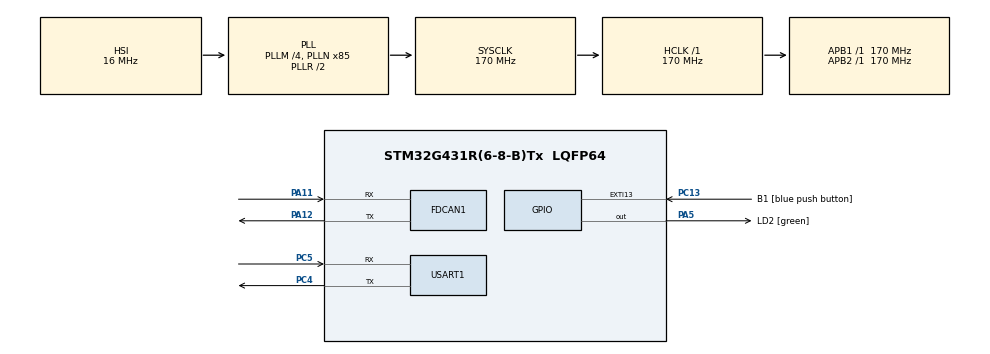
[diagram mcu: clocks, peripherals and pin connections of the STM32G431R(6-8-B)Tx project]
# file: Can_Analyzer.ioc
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FDCAN1.AutoRetransmission=ENABLE
FDCAN1.CalculateBaudRateNominal=499999
FDCAN1.CalculateTimeBitNominal=2000
FDCAN1.CalculateTimeQuantumNominal=117.64705882352942
FDCAN1.FrameFormat=FDCAN_FRAME_CLASSIC
FDCAN1.NominalPrescaler=20
FDCAN1.NominalTimeSeg1=13
FDCAN1.NominalTimeSeg2=3
Mcu.Family=STM32G4
Mcu.Name=STM32G431R(6-8-B)Tx
Mcu.Package=LQFP64
NUCLEO-G431RB.VCP=true
NVIC.FDCAN1_IT0_IRQn=true\:0\:0\:false\:false\:true\:true\:true\:true
NVIC.FDCAN1_IT1_IRQn=true\:0\:0\:false\:false\:true\:true\:true\:true
NVIC.PriorityGroup=NVIC_PRIORITYGROUP_4
NVIC.USART1_IRQn=true\:0\:0\:false\:false\:true\:true\:true\:true
PA11.Mode=FDCAN_Activate
PA11.Signal=FDCAN1_RX
PA12.Mode=FDCAN_Activate
PA12.Signal=FDCAN1_TX
PA13.GPIO_Label=T_SWDIO
PA13.Signal=SYS_JTMS-SWDIO
PA14.GPIO_Label=T_SWCLK
PA14.Signal=SYS_JTCK-SWCLK
PA2.Signal=LPUART1_TX
PA3.Signal=LPUART1_RX
PA5.GPIO_Label=LD2 [green]
PA5.Signal=GPIO_Output
PB3.GPIO_Label=T_SWO
PB3.Signal=SYS_JTDO-SWO
PC13.GPIO_Label=B1 [blue push button]
PC13.Signal=GPXTI13
PC14-OSC32_IN.GPIO_Label=RCC_OSC32_OUT
PC14-OSC32_IN.Signal=RCC_OSC32_IN
PC15-OSC32_OUT.GPIO_Label=RCC_OSC32_OUT
PC15-OSC32_OUT.Signal=RCC_OSC32_OUT
PC4.Mode=Asynchronous
PC4.Signal=USART1_TX
PC5.Mode=Asynchronous
PC5.Signal=USART1_RX
PF0-OSC_IN.GPIO_Label=RCC_OSC_IN
PF0-OSC_IN.Signal=RCC_OSC_IN
PF1-OSC_OUT.GPIO_Label=RCC_OSC_OUT
PF1-OSC_OUT.Signal=RCC_OSC_OUT
ProjectManager.HeapSize=0x200
ProjectManager.StackSize=0x400
ProjectManager.TargetToolchain=STM32CubeIDE
RCC.ADC12Freq_Value=170000000
RCC.AHBFreq_Value=170000000
RCC.APB1Freq_Value=170000000
RCC.APB1TimFreq_Value=170000000
RCC.APB2Freq_Value=170000000
RCC.APB2TimFreq_Value=170000000
RCC.CortexFreq_Value=170000000
RCC.EXTERNAL_CLOCK_VALUE=12288000
RCC.HCLKFreq_Value=170000000
RCC.HSE_VALUE=24000000
RCC.HSI48_VALUE=48000000
RCC.HSI_VALUE=16000000
RCC.LSE_VALUE=32768
RCC.PLLM=RCC_PLLM_DIV4
RCC.PLLN=85
RCC.RTCClockSelection=RCC_RTCCLKSOURCE_LSE
RCC.SYSCLKFreq_VALUE=170000000
RCC.SYSCLKSource=RCC_SYSCLKSOURCE_PLLCLK
RCC.USBFreq_Value=170000000
RCC.VCOOutputFreq_Value=340000000
USART1.VirtualMode-Asynchronous=VM_ASYNC
VP_NUCLEO-G431RB_VS_BSP_COMMON.Mode=COMMON
VP_SYS_VS_DBSignals.Mode=DisableDeadBatterySignals
board=NUCLEO-G431RB

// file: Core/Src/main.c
/* USER CODE BEGIN Header */
/**
  ******************************************************************************
  * @file           : main.c
  * @brief          : Main program body
  ******************************************************************************
  * @attention
  *
  * Copyright (c) 2025 STMicroelectronics.
  * All rights reserved.
  *
  * This software is licensed under terms that can be found in the LICENSE file
  * in the root directory of this software component.
  * If no LICENSE file comes with this software, it is provided AS-IS.
  *
  ******************************************************************************
  */
/* USER CODE END Header */
#include "main.h"

/* USER CODE BEGIN Includes */
#include <stdio.h>
#include <string.h>

/* USER CODE END Includes */

/* USER CODE BEGIN PTD */
// CAN message structures
FDCAN_TxHeaderTypeDef TxHeader;
FDCAN_RxHeaderTypeDef RxHeader;
FDCAN_FilterTypeDef sFilterConfig;

uint8_t TxData[8];
uint8_t RxData[8];

// Status variables
uint8_t can_tx_complete = 0;
uint8_t can_rx_complete = 0;
uint32_t can_error_count = 0;

/* USER CODE END PTD */

/* USER CODE BEGIN PD */

uint32_t message_counter = 0;

// CAN Statistics
typedef struct {
    uint32_t total_rx_messages;
    uint32_t total_tx_messages;
    uint32_t total_errors;
    uint32_t bus_off_count;
} CAN_Stats_t;

CAN_Stats_t can_stats = {0};

/* USER CODE END PD */

COM_InitTypeDef BspCOMInit;
FDCAN_HandleTypeDef hfdcan1;

UART_HandleTypeDef huart1;

void SystemClock_Config(void);
static void MX_GPIO_Init(void);
static void MX_FDCAN1_Init(void);
static void MX_USART1_UART_Init(void);
/* USER CODE BEGIN PFP */

// Function prototypes
void CAN_Analyzer_Init(void);
void CAN_Config_Filter(void);
void CAN_Send_Message(uint32_t id, uint8_t *data, uint8_t length);
void CAN_Process_Received_Message(void);
void Print_CAN_Message(const char* direction, uint32_t id, uint8_t *data, uint8_t length);
void Print_CAN_Statistics(void);
const char* Get_CAN_Error_String(uint32_t error_code);

/* USER CODE END PFP */

/* USER CODE BEGIN 0 */

/**
 * @brief Initialize CAN Analyzer
 * @details This function sets up the CAN peripheral for analyzer operation:
 *          - Configures message filters to accept all CAN frames
 *          - Enables necessary interrupts for RX, TX, and error handling
 *          - Starts the CAN peripheral
 * @param None
 * @retval None
 */
void CAN_Analyzer_Init(void)
{
    printf("=== STM32 CAN Analyzer Initializing ===\r\n");

    // Configure CAN filters to accept all messages
    CAN_Config_Filter();

    // Start CAN peripheral
    if (HAL_FDCAN_Start(&hfdcan1) != HAL_OK)
    {
        printf("ERROR: Failed to start FDCAN peripheral!\r\n");
        Error_Handler();
    }

    printf("CAN Analyzer Ready!\r\n");
    printf("Configuration:\r\n");
    printf("  - Baud Rate: 500 kbit/s\r\n");
    printf("  - Mode: Classic CAN\r\n");
    printf("  - Filters: Accept All IDs\r\n");
    printf("  - UART Output: 115200 baud\r\n");
    printf("=== Listening for CAN messages ===\r\n\r\n");
}

/**
 * @brief Configure CAN filter to accept all messages
 * @param None
 * @retval None
 */

void CAN_Config_Filter(void)
{
	sFilterConfig.IdType = FDCAN_STANDARD_ID;
    sFilterConfig.FilterIndex = 0;
    sFilterConfig.FilterType = FDCAN_FILTER_MASK;
    sFilterConfig.FilterConfig = FDCAN_FILTER_TO_RXFIFO0;
    sFilterConfig.FilterID1 = 0x000;      // Filter ID
    sFilterConfig.FilterID2 = 0x000;      // Filter Mask (0x000 = accept all)

    if (HAL_FDCAN_ConfigFilter(&hfdcan1, &sFilterConfig) != HAL_OK)
    {
    	Error_Handler();
    }

    // Configure filter to accept all extended IDs
    sFilterConfig.IdType = FDCAN_EXTENDED_ID;
    sFilterConfig.FilterIndex = 0;
    sFilterConfig.FilterType = FDCAN_FILTER_MASK;
    sFilterConfig.FilterConfig = FDCAN_FILTER_TO_RXFIFO0;
    sFilterConfig.FilterID1 = 0x00000000; // Filter ID
    sFilterConfig.FilterID2 = 0x00000000; // Filter Mask (0x00000000 = accept all)

    if (HAL_FDCAN_ConfigFilter(&hfdcan1, &sFilterConfig) != HAL_OK)
    {
        Error_Handler();
    }

    // Enable notifications
    if (HAL_FDCAN_ActivateNotification(&hfdcan1, FDCAN_IT_RX_FIFO0_NEW_MESSAGE, 0) != HAL_OK)
    {
        Error_Handler();
    }

    if (HAL_FDCAN_ActivateNotification(&hfdcan1, FDCAN_IT_TX_COMPLETE, 0) != HAL_OK)
    {
        Error_Handler();
    }

    if (HAL_FDCAN_ActivateNotification(&hfdcan1, FDCAN_IT_BUS_OFF | FDCAN_IT_ERROR_WARNING | FDCAN_IT_ERROR_PASSIVE, 0) != HAL_OK)
    {
        Error_Handler();
    }
}

/**
 * @brief Send a CAN message
 * @param id: CAN message ID
 * @param data: Pointer to data buffer
 * @param length: Data length (0-8 bytes)
 * @retval None
 */

void CAN_Send_Message(uint32_t id, uint8_t *data, uint8_t length)
{
    // Configure transmission header
    if (id <= 0x7FF) {
        TxHeader.IdType = FDCAN_STANDARD_ID;
        TxHeader.Identifier = id;
    } else {
        TxHeader.IdType = FDCAN_EXTENDED_ID;
        TxHeader.Identifier = id;
    }

    TxHeader.TxFrameType = FDCAN_DATA_FRAME;
    TxHeader.DataLength = length << 16; // Convert to FDCAN format
    TxHeader.ErrorStateIndicator = FDCAN_ESI_ACTIVE;
    TxHeader.BitRateSwitch = FDCAN_BRS_OFF;
    TxHeader.FDFormat = FDCAN_CLASSIC_CAN;
    TxHeader.TxEventFifoControl = FDCAN_NO_TX_EVENTS;
    TxHeader.MessageMarker = 0;

    // Send the message
    if (HAL_FDCAN_AddMessageToTxFifoQ(&hfdcan1, &TxHeader, data) != HAL_OK)
    {
        can_error_count++;
        printf("CAN TX Error! Error count: %lu\r\n", can_error_count);
    }
    else
    {
        Print_CAN_Message("TX", TxHeader.Identifier, data, length);
    }
}

/**
 * @brief Process received CAN message
 * @param None
 * @retval None
 */
void CAN_Process_Received_Message(void)
{
    if (can_rx_complete)
    {
        can_rx_complete = 0;

        // Extract data length from FDCAN format
        uint8_t data_length = (RxHeader.DataLength >> 16) & 0x0F;

        Print_CAN_Message("RX", RxHeader.Identifier, RxData, data_length);

        // Example: Echo back received message with ID incremented by 1
        // You can modify this behavior based on your analyzer requirements
        if (RxHeader.Identifier < 0x7FE) // Avoid overflow for standard IDs
        {
            CAN_Send_Message(RxHeader.Identifier + 1, RxData, data_length);
        }
    }
}

/**
 * @brief Print CAN message details via UART
 * @param direction: "TX" or "RX"
 * @param id: CAN message ID
 * @param data: Pointer to data buffer
 * @param length: Data length
 * @retval None
 */
void Print_CAN_Message(const char* direction, uint32_t id, uint8_t *data, uint8_t length)
{
    printf("[%s] ID: 0x%03lX, DLC: %d, Data: ", direction, id, length);

    for (uint8_t i = 0; i < length; i++)
    {
        printf("0x%02X ", data[i]);
    }
    printf("\r\n");
}

/**
 * @brief Print CAN bus statistics
 * @details Displays current statistics including message counts and errors.
 * @param None
 * @retval None
 */
void Print_CAN_Statistics(void)
{
    printf("\r\n=== CAN Statistics ===\r\n");
    printf("RX Messages: %lu\r\n", can_stats.total_rx_messages);
    printf("TX Messages: %lu\r\n", can_stats.total_tx_messages);
    printf("Total Errors: %lu\r\n", can_stats.total_errors);
    printf("Bus Off Events: %lu\r\n", can_stats.bus_off_count);
    printf("======================\r\n\r\n");
}

/**
 * @brief Convert error code to readable string
 * @param error_code: HAL error code
 * @retval Pointer to error description string
 */

const char* Get_CAN_Error_String(uint32_t error_code)
{
    switch (error_code)
    {
        case HAL_FDCAN_ERROR_NONE: return "No Error";
        case FDCAN_FLAG_ERROR_WARNING: return "Error Warning";
        case FDCAN_ESI_PASSIVE: return "Error Passive";
        case FDCAN_FLAG_BUS_OFF: return "Bus Off";
        case FDCAN_PROTOCOL_ERROR_STUFF: return "Stuff Error";
        case FDCAN_PROTOCOL_ERROR_FORM: return "Form Error";
        case FDCAN_PROTOCOL_ERROR_ACK: return "ACK Error";
        case FDCAN_PROTOCOL_ERROR_BIT1: return "Bit1 Error";
        case FDCAN_PROTOCOL_ERROR_BIT0: return "Bit0 Error";
        case FDCAN_PROTOCOL_ERROR_CRC: return "CRC Error";
        default: return "Unknown Error";
    }
}

/* USER CODE END 0 */

int main(void)
{

  /* MCU Configuration--------------------------------------------------------*/

  /* Reset of all peripherals, Initializes the Flash interface and the Systick. */
  HAL_Init();

  /* Configure the system clock */
  SystemClock_Config();

  /* Initialize all configured peripherals */
  MX_GPIO_Init();
  MX_FDCAN1_Init();
  MX_USART1_UART_Init();

  /* Initialize COM1 port (115200, 8 bits (7-bit data + 1 stop bit), no parity */
  BspCOMInit.BaudRate   = 115200;
  BspCOMInit.WordLength = COM_WORDLENGTH_8B;
  BspCOMInit.StopBits   = COM_STOPBITS_1;
  BspCOMInit.Parity     = COM_PARITY_NONE;
  BspCOMInit.HwFlowCtl  = COM_HWCONTROL_NONE;
  if (BSP_COM_Init(COM1, &BspCOMInit) != BSP_ERROR_NONE)
  {
    Error_Handler();
  }

  CAN_Analyzer_Init();

  /* Infinite loop */
  while (1)
  {
	  CAN_Process_Received_Message();

	  static uint32_t led_tick = 0;

	  if (HAL_GetTick() - led_tick >= 500)
	  {
		  led_tick = HAL_GetTick();
	      HAL_GPIO_TogglePin(LD2_GPIO_Port, LD2_Pin);
	  }

	  // Small delay to prevent excessive CPU usage
	  HAL_Delay(1);

  }
}

void SystemClock_Config(void)
{
  RCC_OscInitTypeDef RCC_OscInitStruct = {0};
  RCC_ClkInitTypeDef RCC_ClkInitStruct = {0};

  /** Configure the main internal regulator output voltage
  */
  HAL_PWREx_ControlVoltageScaling(PWR_REGULATOR_VOLTAGE_SCALE1_BOOST);

  /** Initializes the RCC Oscillators according to the specified parameters
  * in the RCC_OscInitTypeDef structure.
  */
  RCC_OscInitStruct.OscillatorType = RCC_OSCILLATORTYPE_HSI;
  RCC_OscInitStruct.HSIState = RCC_HSI_ON;
  RCC_OscInitStruct.HSICalibrationValue = RCC_HSICALIBRATION_DEFAULT;
  RCC_OscInitStruct.PLL.PLLState = RCC_PLL_ON;
  RCC_OscInitStruct.PLL.PLLSource = RCC_PLLSOURCE_HSI;
  RCC_OscInitStruct.PLL.PLLM = RCC_PLLM_DIV4;
  RCC_OscInitStruct.PLL.PLLN = 85;
  RCC_OscInitStruct.PLL.PLLP = RCC_PLLP_DIV2;
  RCC_OscInitStruct.PLL.PLLQ = RCC_PLLQ_DIV2;
  RCC_OscInitStruct.PLL.PLLR = RCC_PLLR_DIV2;
  if (HAL_RCC_OscConfig(&RCC_OscInitStruct) != HAL_OK)
  {
    Error_Handler();
  }

  /** Initializes the CPU, AHB and APB buses clocks
  */
  RCC_ClkInitStruct.ClockType = RCC_CLOCKTYPE_HCLK|RCC_CLOCKTYPE_SYSCLK
                              |RCC_CLOCKTYPE_PCLK1|RCC_CLOCKTYPE_PCLK2;
  RCC_ClkInitStruct.SYSCLKSource = RCC_SYSCLKSOURCE_PLLCLK;
  RCC_ClkInitStruct.AHBCLKDivider = RCC_SYSCLK_DIV1;
  RCC_ClkInitStruct.APB1CLKDivider = RCC_HCLK_DIV1;
  RCC_ClkInitStruct.APB2CLKDivider = RCC_HCLK_DIV1;

  if (HAL_RCC_ClockConfig(&RCC_ClkInitStruct, FLASH_LATENCY_4) != HAL_OK)
  {
    Error_Handler();
  }
}

static void MX_FDCAN1_Init(void)
{

  hfdcan1.Instance = FDCAN1;
  hfdcan1.Init.ClockDivider = FDCAN_CLOCK_DIV1;
  hfdcan1.Init.FrameFormat = FDCAN_FRAME_CLASSIC;
  hfdcan1.Init.Mode = FDCAN_MODE_NORMAL;
  hfdcan1.Init.AutoRetransmission = ENABLE;
  hfdcan1.Init.TransmitPause = DISABLE;
  hfdcan1.Init.ProtocolException = DISABLE;
  hfdcan1.Init.NominalPrescaler = 20;
  hfdcan1.Init.NominalSyncJumpWidth = 1;
  hfdcan1.Init.NominalTimeSeg1 = 13;
  hfdcan1.Init.NominalTimeSeg2 = 3;
  hfdcan1.Init.DataPrescaler = 1;
  hfdcan1.Init.DataSyncJumpWidth = 1;
  hfdcan1.Init.DataTimeSeg1 = 1;
  hfdcan1.Init.DataTimeSeg2 = 1;
  hfdcan1.Init.StdFiltersNbr = 0;
  hfdcan1.Init.ExtFiltersNbr = 0;
  hfdcan1.Init.TxFifoQueueMode = FDCAN_TX_FIFO_OPERATION;
  if (HAL_FDCAN_Init(&hfdcan1) != HAL_OK)
  {
    Error_Handler();
  }

}

static void MX_USART1_UART_Init(void)
{

  huart1.Instance = USART1;
  huart1.Init.BaudRate = 115200;
  huart1.Init.WordLength = UART_WORDLENGTH_8B;
  huart1.Init.StopBits = UART_STOPBITS_1;
  huart1.Init.Parity = UART_PARITY_NONE;
  huart1.Init.Mode = UART_MODE_TX_RX;
  huart1.Init.HwFlowCtl = UART_HWCONTROL_NONE;
  huart1.Init.OverSampling = UART_OVERSAMPLING_16;
  huart1.Init.OneBitSampling = UART_ONE_BIT_SAMPLE_DISABLE;
  huart1.Init.ClockPrescaler = UART_PRESCALER_DIV1;
  huart1.AdvancedInit.AdvFeatureInit = UART_ADVFEATURE_NO_INIT;
  if (HAL_UART_Init(&huart1) != HAL_OK)
  {
    Error_Handler();
  }
  if (HAL_UARTEx_SetTxFifoThreshold(&huart1, UART_TXFIFO_THRESHOLD_1_8) != HAL_OK)
  {
    Error_Handler();
  }
  if (HAL_UARTEx_SetRxFifoThreshold(&huart1, UART_RXFIFO_THRESHOLD_1_8) != HAL_OK)
  {
    Error_Handler();
  }
  if (HAL_UARTEx_DisableFifoMode(&huart1) != HAL_OK)
  {
    Error_Handler();
  }

}

static void MX_GPIO_Init(void)
{
  GPIO_InitTypeDef GPIO_InitStruct = {0};

  /* GPIO Ports Clock Enable */
  __HAL_RCC_GPIOC_CLK_ENABLE();
  __HAL_RCC_GPIOF_CLK_ENABLE();
  __HAL_RCC_GPIOA_CLK_ENABLE();
  __HAL_RCC_GPIOB_CLK_ENABLE();

  /*Configure GPIO pin Output Level */
  HAL_GPIO_WritePin(LD2_GPIO_Port, LD2_Pin, GPIO_PIN_RESET);

  /*Configure GPIO pin : B1_Pin */
  GPIO_InitStruct.Pin = B1_Pin;
  GPIO_InitStruct.Mode = GPIO_MODE_IT_RISING;
  GPIO_InitStruct.Pull = GPIO_NOPULL;
  HAL_GPIO_Init(B1_GPIO_Port, &GPIO_InitStruct);

  /*Configure GPIO pin : LD2_Pin */
  GPIO_InitStruct.Pin = LD2_Pin;
  GPIO_InitStruct.Mode = GPIO_MODE_OUTPUT_PP;
  GPIO_InitStruct.Pull = GPIO_NOPULL;
  GPIO_InitStruct.Speed = GPIO_SPEED_FREQ_LOW;
  HAL_GPIO_Init(LD2_GPIO_Port, &GPIO_InitStruct);

}

/* USER CODE BEGIN 4 */

/**
 * @brief CAN RX FIFO 0 callback
 * @details Called automatically when a new message is received in RX FIFO 0.
 *          This function is called by HAL_FDCAN_IRQHandler().
 * @param hfdcan: Pointer to FDCAN handle
 * @param RxFifo0ITs: Interrupt flags
 * @retval None
 */
void HAL_FDCAN_RxFifo0Callback(FDCAN_HandleTypeDef *hfdcan, uint32_t RxFifo0ITs)
{
    if ((RxFifo0ITs & FDCAN_IT_RX_FIFO0_NEW_MESSAGE) != RESET)
    {
        // Retrieve the received message
        if (HAL_FDCAN_GetRxMessage(hfdcan, FDCAN_RX_FIFO0, &RxHeader, RxData) == HAL_OK)
        {
            can_rx_complete = 1;  // Set flag for main loop processing
        }
    }
}

/**
 * @brief CAN TX Event FIFO callback
 * @details Called when a transmission is completed successfully.
 * @param hfdcan: Pointer to FDCAN handle
 * @param TxEventFifoITs: Interrupt flags
 * @retval None
 */
void HAL_FDCAN_TxEventFifoCallback(FDCAN_HandleTypeDef *hfdcan, uint32_t TxEventFifoITs)
{
    can_tx_complete = 1;  // Set flag indicating transmission complete
}

/**
 * @brief CAN Error callback
 * @details Called when CAN errors occur (bus-off, error warning, etc.).
 *          Provides detailed error information for debugging.
 * @param hfdcan: Pointer to FDCAN handle
 * @retval None
 */
void HAL_FDCAN_ErrorCallback(FDCAN_HandleTypeDef *hfdcan)
{
    can_error_count++;
    can_stats.total_errors++;

    // Get detailed error information
    uint32_t error_code = HAL_FDCAN_GetError(hfdcan);

    printf("CAN Error Detected!\r\n");
    printf("  Error Code: 0x%08lX (%s)\r\n", error_code, Get_CAN_Error_String(error_code));
    printf("  Total Errors: %lu\r\n", can_error_count);

    // Handle specific error conditions
    if (error_code & FDCAN_FLAG_BUS_OFF)
    {
        can_stats.bus_off_count++;
        printf("  Bus-Off condition detected! Attempting restart...\r\n");

        // Attempt to restart CAN after bus-off
        HAL_FDCAN_Stop(hfdcan);
        HAL_Delay(100);  // Wait before restart
        if (HAL_FDCAN_Start(hfdcan) == HAL_OK)
        {
            printf("  CAN restarted successfully.\r\n");
        }
    }
}

/* USER CODE END 4 */

void Error_Handler(void)
{
  __disable_irq();
  while (1)
  {
  }
}
